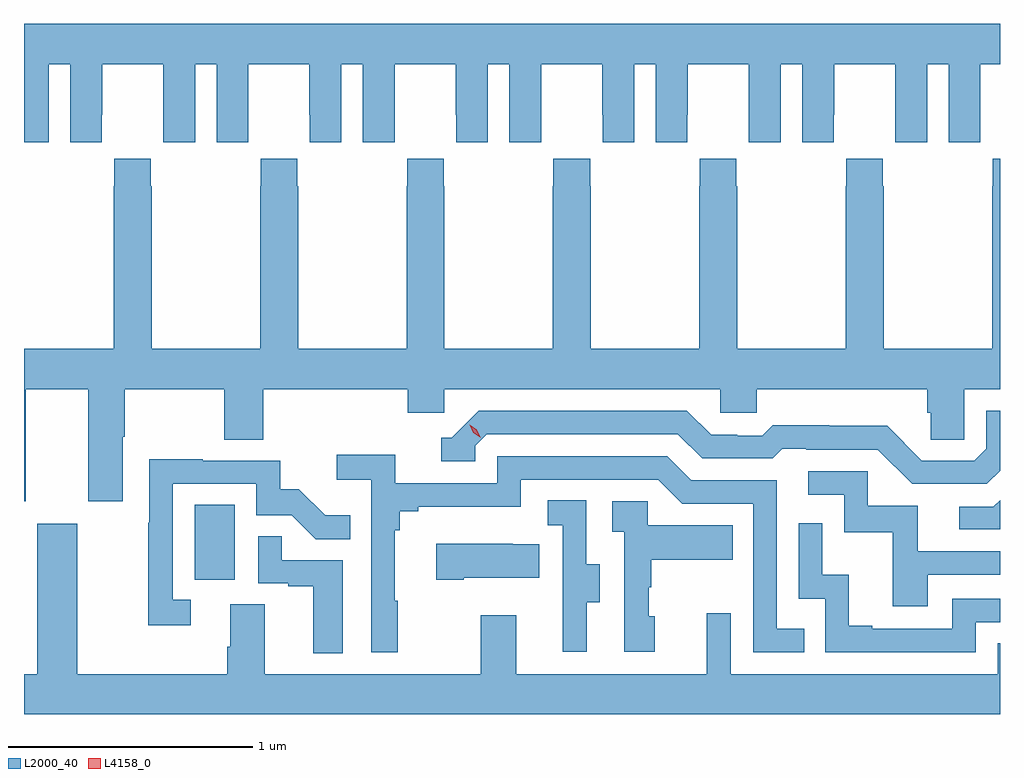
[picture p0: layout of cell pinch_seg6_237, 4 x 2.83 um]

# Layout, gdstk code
import gdstk
lib = gdstk.Library(unit=1e-6, precision=1e-09)
def R(c, l, rs):  # rectangles x0, y0, x1, y1
    for r in rs: c.add(gdstk.rectangle(r[:2], r[2:], *l))
def P(c, l, *ps):  # polygons
    for p in ps: c.add(gdstk.Polygon(p, *l))
L2000_40 = (2000, 40)
L4158_0 = (4158, 0)

pinch_seg6_237 = lib.new_cell('pinch_seg6_237')
R(pinch_seg6_237, L2000_40, [(1078.406,929.238,1078.57,929.545)])
P(pinch_seg6_237, L2000_40, [(1077.808,931.352),(1077.896,931.352),(1077.896,931.032),(1078.026,931.032),(1078.026,931.144),(1078.027,931.144),(1078.027,931.352),(1078.277,931.352),(1078.277,931.144),(1078.278,931.144),(1078.278,931.032),(1078.408,931.032),(1078.408,931.352),(1078.496,931.352),(1078.496,931.032),(1078.626,931.032),(1078.626,931.144),(1078.627,931.144),(1078.627,931.352),(1078.877,931.352),(1078.877,931.144),(1078.878,931.144),(1078.878,931.032),(1079.008,931.032),(1079.008,931.352),(1079.096,931.352),(1079.096,931.032),(1079.226,931.032),(1079.226,931.144),(1079.227,931.144),(1079.227,931.352),(1079.477,931.352),(1079.477,931.144),(1079.478,931.144),(1079.478,931.032),(1079.608,931.032),(1079.608,931.352),(1079.696,931.352),(1079.696,931.032),(1079.826,931.032),(1079.826,931.144),(1079.827,931.144),(1079.827,931.352),(1080.077,931.352),(1080.077,931.144),(1080.078,931.144),(1080.078,931.032),(1080.208,931.032),(1080.208,931.352),(1080.296,931.352),(1080.296,931.032),(1080.426,931.032),(1080.426,931.144),(1080.427,931.144),(1080.427,931.352),(1080.677,931.352),(1080.677,931.144),(1080.678,931.144),(1080.678,931.032),(1080.808,931.032),(1080.808,931.352),(1080.896,931.352),(1080.896,931.032),(1081.026,931.032),(1081.026,931.144),(1081.027,931.144),(1081.027,931.352),(1081.277,931.352),(1081.277,931.144),(1081.278,931.144),(1081.278,931.032),(1081.408,931.032),(1081.408,931.352),(1081.496,931.352),(1081.496,931.032),(1081.626,931.032),(1081.626,931.144),(1081.627,931.144),(1081.627,931.352),(1081.707,931.352),(1081.707,931.516),(1077.707,931.516),(1077.707,931.032),(1077.808,931.032)],
  [(1077.715,930.02),(1077.971,930.02),(1077.971,929.559),(1078.111,929.559),(1078.111,929.824),(1078.119,929.824),(1078.119,930.02),(1078.528,930.02),(1078.528,929.812),(1078.688,929.812),(1078.688,930.02),(1079.279,930.02),(1079.279,929.922),(1079.43,929.922),(1079.43,930.02),(1080.561,930.02),(1080.561,929.922),(1080.711,929.922),(1080.711,930.02),(1081.409,930.02),(1081.409,929.922),(1081.423,929.922),(1081.423,929.812),(1081.56,929.812),(1081.56,930.02),(1081.707,930.02),(1081.707,930.964),(1081.677,930.964),(1081.677,930.851),(1081.675,930.851),(1081.675,930.184),(1081.23,930.184),(1081.23,930.851),(1081.227,930.851),(1081.227,930.964),(1081.077,930.964),(1081.077,930.851),(1081.075,930.851),(1081.075,930.184),(1080.63,930.184),(1080.63,930.851),(1080.627,930.851),(1080.627,930.964),(1080.477,930.964),(1080.477,930.851),(1080.475,930.851),(1080.475,930.184),(1080.03,930.184),(1080.03,930.851),(1080.027,930.851),(1080.027,930.964),(1079.877,930.964),(1079.877,930.851),(1079.875,930.851),(1079.875,930.184),(1079.43,930.184),(1079.43,930.851),(1079.427,930.851),(1079.427,930.964),(1079.277,930.964),(1079.277,930.851),(1079.275,930.851),(1079.275,930.184),(1078.83,930.184),(1078.83,930.851),(1078.827,930.851),(1078.827,930.964),(1078.677,930.964),(1078.677,930.851),(1078.675,930.851),(1078.675,930.184),(1078.23,930.184),(1078.23,930.851),(1078.227,930.851),(1078.227,930.964),(1078.077,930.964),(1078.077,930.851),(1078.075,930.851),(1078.075,930.184),(1077.707,930.184),(1077.707,929.559),(1077.715,929.559)],
  [(1081.707,929.685),(1081.707,929.931),(1081.65,929.931),(1081.65,929.775),(1081.602,929.727),(1081.386,929.727),(1081.244,929.869),(1081.008,929.869),(1081.008,929.872),(1080.775,929.872),(1080.733,929.829),(1080.63,929.829),(1080.63,929.832),(1080.523,929.832),(1080.424,929.931),(1079.571,929.931),(1079.46,929.82),(1079.417,929.82),(1079.417,929.724),(1079.556,929.724),(1079.556,929.787),(1079.604,929.835),(1080.387,929.835),(1080.486,929.736),(1080.775,929.736),(1080.814,929.775),(1080.913,929.775),(1080.913,929.772),(1081.206,929.772),(1081.347,929.631),(1081.653,929.631)],
  [(1079.239,929.153),(1079.227,929.153),(1079.227,929.441),(1079.246,929.441),(1079.246,929.518),(1079.323,929.518),(1079.323,929.537),(1079.742,929.537),(1079.742,929.649),(1080.306,929.649),(1080.405,929.55),(1080.696,929.55),(1080.696,928.941),(1080.905,928.941),(1080.905,929.037),(1080.792,929.037),(1080.792,929.646),(1080.442,929.646),(1080.343,929.745),(1079.646,929.745),(1079.646,929.634),(1079.228,929.634),(1079.228,929.75),(1078.989,929.75),(1078.989,929.648),(1079.13,929.648),(1079.13,928.941),(1079.239,928.941)],
  [(1078.39,929.157),(1078.317,929.157),(1078.317,929.631),(1078.659,929.631),(1078.659,929.502),(1078.804,929.502),(1078.902,929.404),(1079.045,929.404),(1079.045,929.503),(1078.941,929.503),(1078.834,929.61),(1078.758,929.61),(1078.758,929.727),(1078.439,929.727),(1078.439,929.732),(1078.221,929.732),(1078.221,929.471),(1078.216,929.471),(1078.216,929.052),(1078.39,929.052)],
  [(1081.411,929.259),(1081.707,929.259),(1081.707,929.355),(1081.369,929.355),(1081.369,929.541),(1081.164,929.541),(1081.164,929.682),(1080.921,929.682),(1080.921,929.586),(1081.068,929.586),(1081.068,929.433),(1081.267,929.433),(1081.267,929.13),(1081.411,929.13)],
  [(1081.707,929.565),(1081.68,929.538),(1081.539,929.538),(1081.539,929.445),(1081.707,929.445)],
  [(1080.013,929.146),(1080.067,929.146),(1080.067,929.301),(1080.012,929.301),(1080.012,929.564),(1079.853,929.564),(1079.853,929.461),(1079.916,929.461),(1079.916,929.157),(1079.915,929.157),(1079.915,928.944),(1080.013,928.944)],
  [(1080.292,929.088),(1080.267,929.088),(1080.267,929.207),(1080.277,929.207),(1080.277,929.321),(1080.611,929.321),(1080.611,929.461),(1080.264,929.461),(1080.264,929.559),(1080.117,929.559),(1080.117,929.435),(1080.168,929.435),(1080.168,928.944),(1080.292,928.944)],
  [(1081.608,929.064),(1081.707,929.064),(1081.707,929.16),(1081.512,929.16),(1081.512,929.037),(1081.183,929.037),(1081.183,929.05),(1081.088,929.05),(1081.088,929.258),(1080.978,929.258),(1080.978,929.47),(1080.882,929.47),(1080.882,929.16),(1080.99,929.16),(1080.99,928.941),(1081.608,928.941)],
  [(1081.707,928.979),(1081.698,928.979),(1081.698,928.852),(1080.603,928.852),(1080.603,929.101),(1080.506,929.101),(1080.506,928.852),(1079.725,928.852),(1079.725,929.092),(1079.578,929.092),(1079.578,928.852),(1078.693,928.852),(1078.693,929.138),(1078.553,929.138),(1078.553,928.964),(1078.541,928.964),(1078.541,928.852),(1077.925,928.852),(1077.925,929.467),(1077.761,929.467),(1077.761,928.852),(1077.707,928.852),(1077.707,928.688),(1081.707,928.688)],
  [(1079.014,929.319),(1078.763,929.319),(1078.763,929.417),(1078.668,929.417),(1078.668,929.223),(1078.789,929.223),(1078.789,929.211),(1078.892,929.211),(1078.892,928.937),(1079.014,928.937)],
  [(1079.509,929.246),(1079.819,929.246),(1079.819,929.383),(1079.711,929.383),(1079.711,929.386),(1079.397,929.386),(1079.397,929.239),(1079.509,929.239)])
P(pinch_seg6_237, L4158_0, [(1079.578,929.82),(1079.548,929.84),(1079.533,929.873),(1079.533,929.873),(1079.533,929.873),(1079.563,929.853),(1079.579,929.82),(1079.579,929.82)])

lib.write_gds('pinch_seg6_237.gds')
